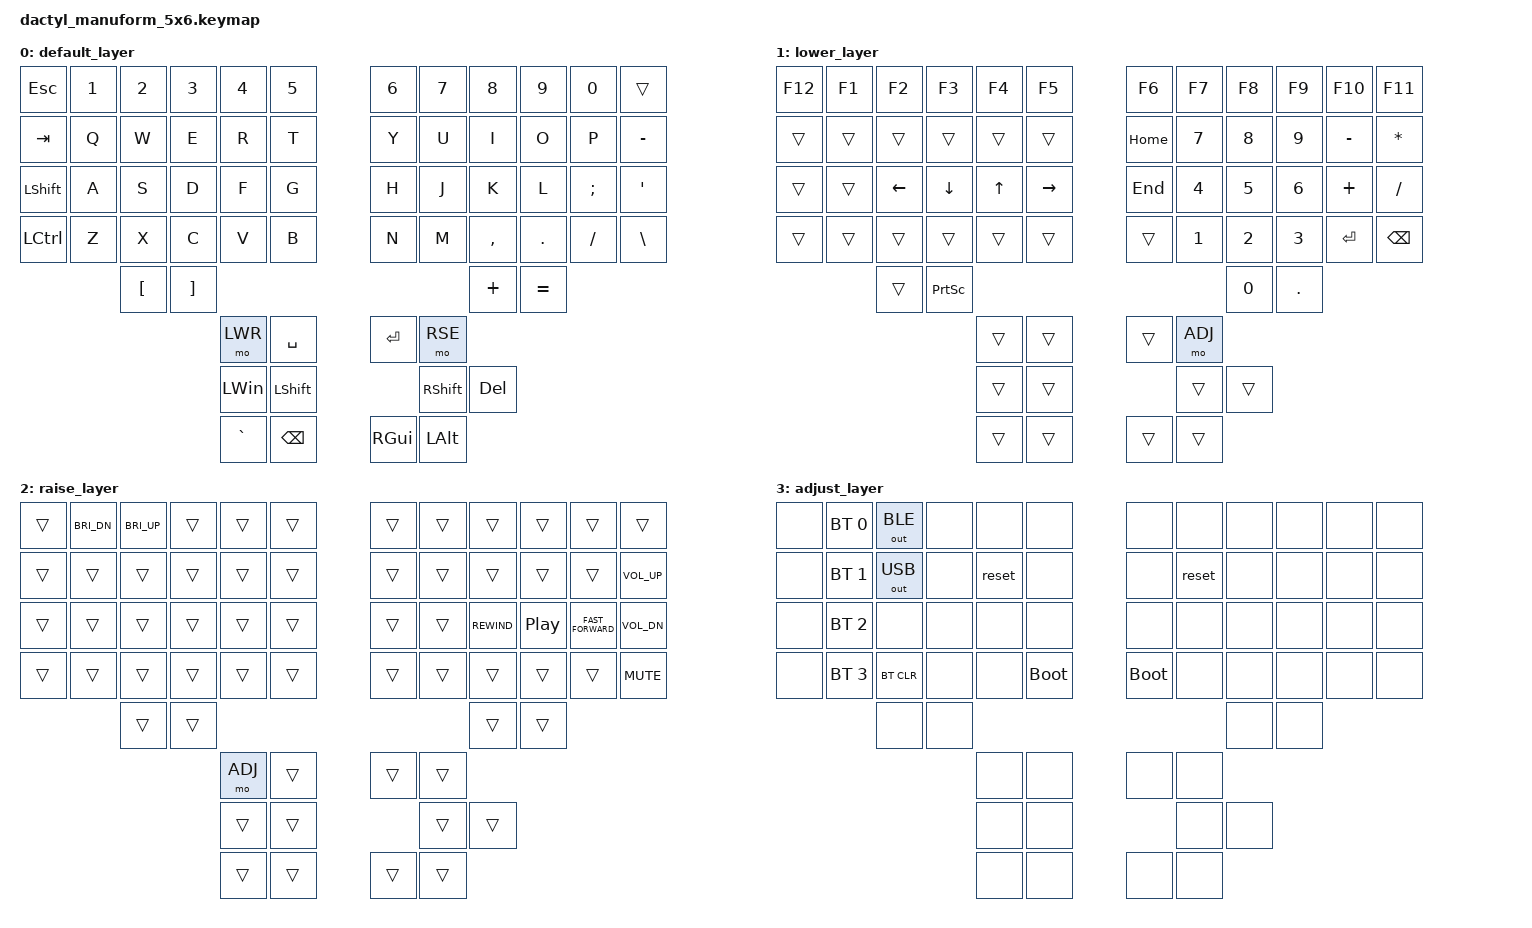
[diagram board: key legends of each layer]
#include <behaviors.dtsi>
#include <dt-bindings/zmk/keys.h>
#include <dt-bindings/zmk/bt.h>
#include <dt-bindings/zmk/outputs.h>

#define DEFAULT 0
#define LWR 1
#define RSE 2
#define ADJ 3

/ {
    keymap {
        compatible = "zmk,keymap";

        default_layer {
            bindings = <
                &kp ESC   &kp N1 &kp N2 &kp N3 &kp N4 &kp N5              &kp N6 &kp N7 &kp N8    &kp N9  &kp N0   &trans
                &kp TAB   &kp Q  &kp W  &kp E  &kp R  &kp T               &kp Y  &kp U  &kp I     &kp O   &kp P    &kp MINUS
                &kp LSHFT &kp A  &kp S  &kp D  &kp F  &kp G               &kp H  &kp J  &kp K     &kp L   &kp SEMI &kp SQT
                &kp LCTRL &kp Z  &kp X  &kp C  &kp V  &kp B               &kp N  &kp M  &kp COMMA &kp DOT &kp FSLH &kp BSLH
                                 &kp LBKT &kp RBKT                                      &kp PLUS &kp EQUAL
                                            &mo LWR  &kp SPACE            &kp RET  &mo RSE
                                            &kp LWIN   &kp LSHFT          &kp RSHIFT &kp DEL
                                            &kp GRAVE &kp BSPC            &kp RGUI &kp LALT
            >;
        };

        lower_layer {
            bindings = <
                &kp F12 &kp F1 &kp F2 &kp F3 &kp F4 &kp F5                &kp F6   &kp F7   &kp F8   &kp F9 &kp F10   &kp F11
                &trans  &trans &trans &trans &trans &trans                &kp HOME &kp N7   &kp N8   &kp N9 &kp MINUS &kp MULTIPLY
                &trans  &trans &kp LEFT &kp DOWN &kp UP &kp RIGHT         &kp END  &kp N4   &kp N5   &kp N6 &kp PLUS  &kp DIVIDE
                &trans  &trans &trans &trans &trans &trans                &trans   &kp N1   &kp N2   &kp N3 &kp RET   &kp BSPC
                               &trans &kp PSCRN                                             &kp N0   &kp DOT
                                             &trans &trans                &trans &mo ADJ
                                             &trans &trans                &trans &trans
                                             &trans &trans                &trans &trans
            >;
        };

        raise_layer {
            bindings = <
                &trans  &kp C_BRI_DN &kp C_BRI_UP &trans &trans &trans                &trans &trans &trans &trans  &trans &trans
                &trans  &trans &trans &trans &trans &trans                &trans &trans    &trans     &trans    &trans   &kp C_VOL_UP
                &trans  &trans &trans &trans &trans &trans                &trans &trans    &kp C_REWIND &kp C_PLAY_PAUSE &kp C_FAST_FORWARD &kp C_VOL_DN
                &trans  &trans &trans &trans &trans &trans                &trans &trans    &trans     &trans   &trans    &kp C_MUTE
                               &trans &trans                                               &trans    &trans
                                             &mo ADJ &trans               &trans &trans
                                             &trans  &trans               &trans &trans
                                             &trans  &trans               &trans &trans
            >;
        };

        adjust_layer {
            bindings = <
                &none &bt BT_SEL 0 &out OUT_BLE &none &none  &none            &none       &none  &none &none &none &none
                &none &bt BT_SEL 1 &out OUT_USB &none &reset &none            &none       &reset &none &none &none &none
                &none &bt BT_SEL 2 &none        &none &none  &none            &none       &none  &none &none &none &none
                &none &bt BT_SEL 3 &bt BT_CLR   &none &none  &bootloader      &bootloader &none  &none &none &none &none
                                   &none        &none                                            &none &none
                                                      &none &none             &none &none
                                                      &none &none             &none &none
                                                      &none &none             &none &none
            >;
        };
    };
};
